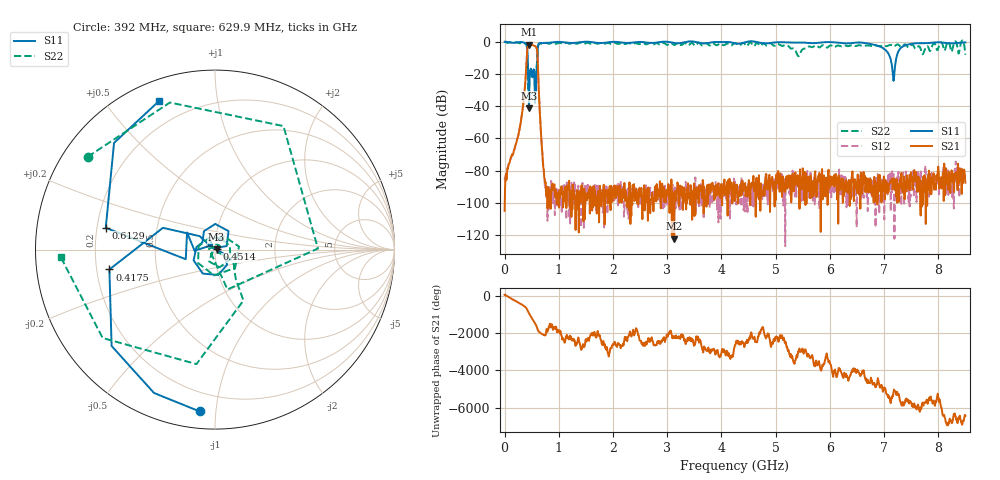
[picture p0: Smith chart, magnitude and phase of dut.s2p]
# Hz S RI R 50
! CMT, S5085, 16077402, 21.3.2/1
! Date: 11/17/2021 5:20:22 PM
! Data: Format (Calibration Info)
! Freq	S11:Re/Im(--)	S21:Re/Im(--)	S12:Re/Im(--)	S22:Re/Im(--)
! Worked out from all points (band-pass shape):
!   1001 points, 1 MHz to 8.5 GHz, reference 50 ohm
!   highest |S21| = -1.68 dB at 459.9 MHz (marker M1); lowest = -122.3 dB at 3.129 GHz (marker M2)
!   |S21| within 3 dB of the highest: 420.2 MHz to 597.5 MHz (177.3 MHz wide, 34.8 % of centre)
!   lowest |S11| = -41.2 dB at 451.4 MHz (marker M3), VSWR 1.02, Z = 50.9 + j0.124 ohm
!   |S11| at or under -10 dB: 425.9 MHz to 608.5 MHz (182.6 MHz wide, 35.3 % of centre); 7.115 GHz to 7.225 GHz (110 MHz wide, 1.53 % of centre)
!   |S22| runs from -32.5 to 1.0 dB; largest |S21 - S12| = 0.0067
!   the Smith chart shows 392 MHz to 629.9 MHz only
!   S11 on the Smith chart (normalised r, x): 392 MHz: 0.09, -0.91; 417.5 MHz: 0.25, -0.09; 451.4 MHz: 1.02, +0.00; 612.9 MHz: 0.24, +0.09; 629.9 MHz: 0.09, +0.69
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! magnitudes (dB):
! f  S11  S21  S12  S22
! 1 MHz  0.2  -105.1  -84.1  0.3
! 256 MHz  0.0  -57.9  -57.5  -0.6
! 332.5 MHz  -0.1  -41.9  -41.9  -0.3
! 392 MHz  -0.9  -20.4  -20.5  -1.1
! 417.5 MHz  -4.5  -5.6  -5.5  -4.8
! 451.4 MHz  -41.2  -1.7  -1.7  -30.0
! 459.9 MHz  -25.0  -1.7  -1.7  -20.9
! 561.9 MHz  -37.6  -2.4  -2.4  -32.5
! 612.9 MHz  -4.1  -12.7  -12.8  -3.8
! 629.9 MHz  -1.1  -28.6  -28.7  -1.3
! 689.4 MHz  -0.6  -66.3  -66.2  -1.1
! 748.9 MHz  -0.6  -87.5  -91.2  -0.5
! 1.42 GHz  0.0  -89.2  -90.5  -0.6
! 2.84 GHz  -0.1  -95.7  -93.0  -1.2
! 3.129 GHz  -0.6  -122.3  -106.0  -1.8
! 4.25 GHz  -0.7  -89.0  -86.8  -0.8
! 5.67 GHz  -0.7  -91.9  -90.0  -3.2
! 6.673 GHz  -0.7  -84.5  -87.6  -2.1
! 7.089 GHz  -7.8  -89.2  -83.7  -2.0
! 7.174 GHz  -24.1  -84.8  -82.3  -2.7
! 7.387 GHz  -2.1  -90.0  -82.2  -1.4
! 8.5 GHz  -0.2  -87.5  -80.4  -7.9
